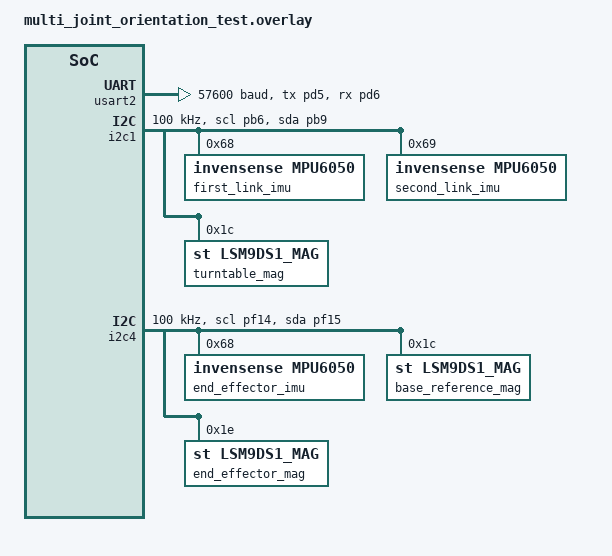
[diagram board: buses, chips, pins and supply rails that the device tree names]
/ {
	chosen {
		zephyr,console = &usart2;
		zephyr,shell-uart = &usart2;
	};
};

&usart2 {
	pinctrl-0 = <&usart2_tx_pd5 &usart2_rx_pd6>;
	pinctrl-names = "default";
	current-speed = <57600>;
	status = "okay";
};

/* Confirmed imu_mag_test bus and address allocation. */
&i2c1 {
	pinctrl-0 = <&i2c1_scl_pb6 &i2c1_sda_pb9>;
	pinctrl-names = "default";
	clock-frequency = <I2C_BITRATE_STANDARD>;
	status = "okay";

	first_link_imu: mpu6050@68 {
		compatible = "invensense,mpu6050";
		reg = <0x68>;
		status = "okay";
	};

	second_link_imu: mpu6050@69 {
		compatible = "invensense,mpu6050";
		reg = <0x69>;
		status = "okay";
	};

	turntable_mag: lsm9ds1_mag@1c {
		compatible = "st,lsm9ds1_mag";
		reg = <0x1c>;
		status = "okay";
	};
};

&i2c4 {
	pinctrl-0 = <&i2c4_scl_pf14 &i2c4_sda_pf15>;
	pinctrl-names = "default";
	clock-frequency = <I2C_BITRATE_STANDARD>;
	status = "okay";

	end_effector_imu: mpu6050@68 {
		compatible = "invensense,mpu6050";
		reg = <0x68>;
		status = "okay";
	};

	base_reference_mag: lsm9ds1_mag@1c {
		compatible = "st,lsm9ds1_mag";
		reg = <0x1c>;
		status = "okay";
	};

	end_effector_mag: lsm9ds1_mag@1e {
		compatible = "st,lsm9ds1_mag";
		reg = <0x1e>;
		status = "okay";
	};
};
